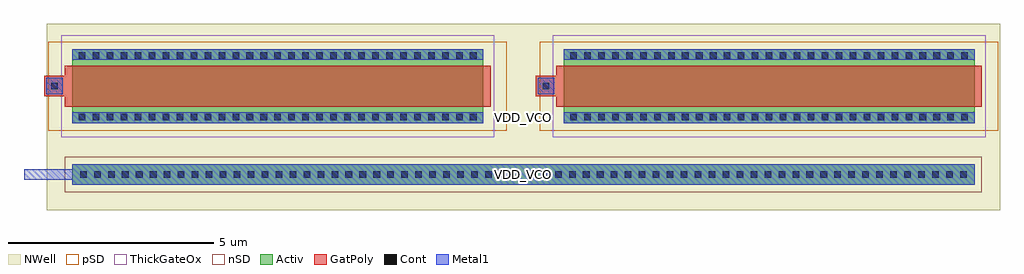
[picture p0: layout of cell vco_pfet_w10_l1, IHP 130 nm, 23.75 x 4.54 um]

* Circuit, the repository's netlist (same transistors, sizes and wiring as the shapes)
* extracted by klt extract --deck sg13cmos5l

* cell vco_pfet_w10_l1
* pin VDD_VCO
.SUBCKT vco_pfet_w10_l1 VDD_VCO
* device instance $1 r0 *1 6.3,3.36 pfet
X$1 \$6 \$4 \$2 VDD_VCO sg13_hv_pmos L=1U W=10U AS=4P AD=4P PS=20.8U PD=20.8U
* device instance $2 r0 *1 18.26,3.36 pfet
X$2 \$7 \$5 \$3 VDD_VCO sg13_hv_pmos L=1U W=10U AS=4P AD=4P PS=20.8U PD=20.8U
.ENDS vco_pfet_w10_l1

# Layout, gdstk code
import gdstk
lib = gdstk.Library(unit=1e-6, precision=1e-09)
def R(c, l, rs):  # rectangles x0, y0, x1, y1
    for r in rs: c.add(gdstk.rectangle(r[:2], r[2:], *l))
def A(c, l, x, y, w, h, nx, ny, dx, dy):  # array of equal rectangles
    R(c, l, [(x+i*dx, y+j*dy, x+i*dx+w, y+j*dy+h) for i in range(nx) for j in range(ny)])
Activ = (1, 0)
GatPoly = (5, 0)
Cont = (6, 0)
nSD = (7, 0)
Metal1 = (8, 0)
pSD = (14, 0)
NWell = (31, 0)
ThickGateOx = (44, 0)

vco_pfet_w10_l1 = lib.new_cell('vco_pfet_w10_l1')
R(vco_pfet_w10_l1, Activ, [(1.3,0.96,23.26,1.46), (1.3,2.46,11.3,4.26), (13.26,2.46,23.26,4.26)])
R(vco_pfet_w10_l1, GatPoly, [(1.12,2.86,11.48,3.86), (13.08,2.86,23.44,3.86), (0.62,3.11,1.12,3.61), (12.58,3.11,13.08,3.61)])
A(vco_pfet_w10_l1, Cont, 1.49, 1.13, 0.16, 0.16, 64, 1, 0.34, 0)
A(vco_pfet_w10_l1, Cont, 1.46, 2.53, 0.16, 0.16, 29, 2, 0.34, 1.5)
A(vco_pfet_w10_l1, Cont, 13.42, 2.53, 0.16, 0.16, 29, 2, 0.34, 1.5)
R(vco_pfet_w10_l1, Cont, [(0.79,3.28,0.95,3.44), (12.75,3.28,12.91,3.44)])
R(vco_pfet_w10_l1, nSD, [(1.12,0.78,23.44,1.64)])
R(vco_pfet_w10_l1, Metal1, [(1.3,0.96,23.26,1.46), (0.125,1.085,1.3,1.335), (1.3,2.46,11.3,2.72), (13.26,2.46,23.26,2.72), (0.67,3.16,1.07,3.56), (12.63,3.16,13.03,3.56), (1.3,4,11.3,4.26), (13.26,4,23.26,4.26)])
R(vco_pfet_w10_l1, pSD, [(0.72,2.28,11.88,4.44), (12.68,2.28,23.84,4.44)])
R(vco_pfet_w10_l1, NWell, [(0.68,0.34,23.88,4.88)])
R(vco_pfet_w10_l1, ThickGateOx, [(1.03,2.12,11.57,4.6), (12.99,2.12,23.53,4.6)])
vco_pfet_w10_l1.add(gdstk.Label('VDD_VCO', (12.28,1.21), layer=8, texttype=2))
vco_pfet_w10_l1.add(gdstk.Label('VDD_VCO', (12.28,2.61), layer=31, texttype=2))

lib.write_gds('vco_pfet_w10_l1.gds')
